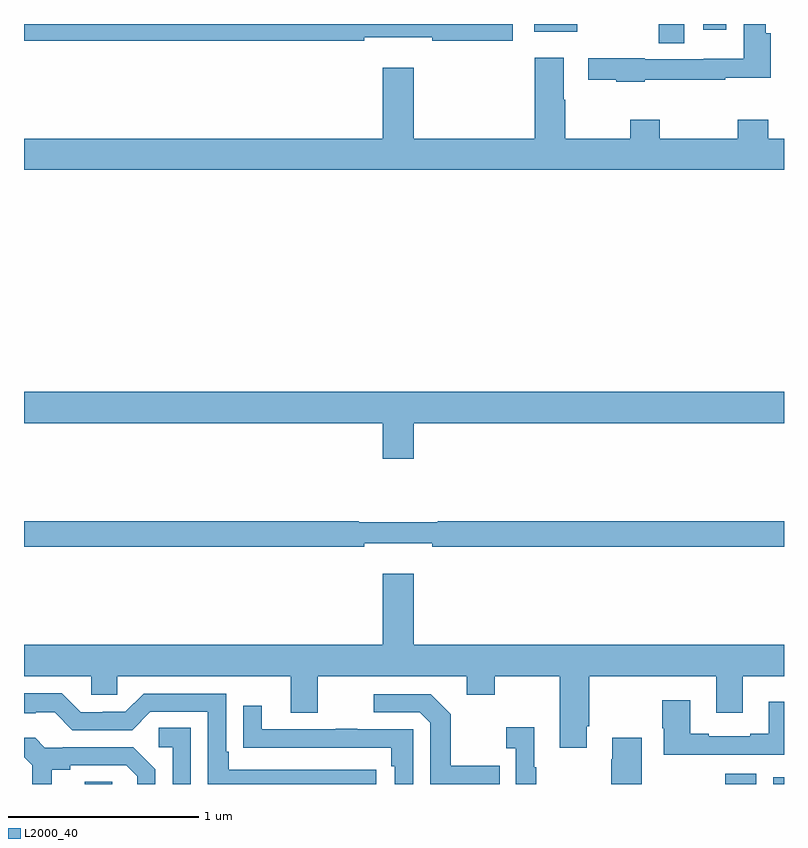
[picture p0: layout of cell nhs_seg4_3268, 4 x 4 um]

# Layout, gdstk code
import gdstk
lib = gdstk.Library(unit=1e-6, precision=1e-09)
def R(c, l, rs):  # rectangles x0, y0, x1, y1
    for r in rs: c.add(gdstk.rectangle(r[:2], r[2:], *l))
def P(c, l, *ps):  # polygons
    for p in ps: c.add(gdstk.Polygon(p, *l))
L2000_40 = (2000, 40)

nhs_seg4_3268 = lib.new_cell('nhs_seg4_3268')
R(nhs_seg4_3268, L2000_40, [(283.319,814.9,283.464,814.913), (286.691,814.9,286.855,814.954), (286.943,814.9,287,814.936), (286.34,818.8,286.474,818.9), (285.686,818.858,285.913,818.9), (286.574,818.871,286.696,818.9)])
P(nhs_seg4_3268, L2000_40, [(284.792,818.831),(285.148,818.831),(285.148,818.812),(285.573,818.812),(285.573,818.9),(283,818.9),(283,818.812),(284.792,818.812)],
  [(286.266,818.607),(286.691,818.607),(286.691,818.617),(286.931,818.617),(286.931,818.851),(286.904,818.851),(286.904,818.9),(286.788,818.9),(286.788,818.716),(286.578,818.716),(286.578,818.715),(286.266,818.715),(286.266,818.719),(285.969,818.719),(285.969,818.607),(286.116,818.607),(286.116,818.597),(286.266,818.597)],
  [(287,818.296),(286.916,818.296),(286.916,818.395),(286.756,818.395),(286.756,818.296),(286.347,818.296),(286.347,818.395),(286.192,818.395),(286.192,818.296),(285.849,818.296),(285.849,818.501),(285.841,818.501),(285.841,818.722),(285.689,818.722),(285.689,818.296),(285.052,818.296),(285.052,818.671),(284.888,818.671),(284.888,818.296),(283,818.296),(283,818.132),(287,818.132)],
  [(285.052,816.8),(287,816.8),(287,816.964),(283,816.964),(283,816.8),(284.888,816.8),(284.888,816.612),(285.052,816.612)],
  [(284.792,816.167),(285.148,816.167),(285.148,816.148),(287,816.148),(287,816.284),(285.178,816.284),(285.178,816.277),(284.762,816.277),(284.762,816.284),(283,816.284),(283,816.148),(284.792,816.148)],
  [(285.961,815.203),(285.974,815.203),(285.974,815.468),(286.643,815.468),(286.643,815.274),(286.783,815.274),(286.783,815.468),(287,815.468),(287,815.632),(285.052,815.632),(285.052,816.007),(284.888,816.007),(284.888,815.632),(283,815.632),(283,815.468),(283.353,815.468),(283.353,815.37),(283.491,815.37),(283.491,815.468),(284.405,815.468),(284.405,815.274),(284.545,815.274),(284.545,815.468),(285.329,815.468),(285.329,815.369),(285.477,815.369),(285.477,815.468),(285.821,815.468),(285.821,815.091),(285.961,815.091)],
  [(284.854,814.974),(284.077,814.974),(284.077,815.071),(284.064,815.071),(284.064,815.376),(283.629,815.376),(283.533,815.28),(283.415,815.28),(283.415,815.277),(283.299,815.277),(283.199,815.377),(283,815.377),(283,815.273),(283.061,815.273),(283.061,815.277),(283.161,815.277),(283.254,815.184),(283.569,815.184),(283.665,815.28),(283.968,815.28),(283.968,814.9),(284.854,814.9)],
  [(285.503,814.995),(285.247,814.995),(285.247,815.267),(285.141,815.373),(284.841,815.373),(284.841,815.277),(285.084,815.277),(285.138,815.223),(285.138,814.9),(285.503,814.9)],
  [(286.599,815.055),(287,815.055),(287,815.332),(286.919,815.332),(286.919,815.164),(286.823,815.164),(286.823,815.151),(286.603,815.151),(286.603,815.164),(286.507,815.164),(286.507,815.341),(286.36,815.341),(286.36,815.193),(286.367,815.193),(286.367,815.054),(286.599,815.054)],
  [(285.048,815.187),(284.753,815.187),(284.753,815.192),(284.641,815.192),(284.641,815.187),(284.251,815.187),(284.251,815.311),(284.155,815.311),(284.155,815.092),(284.257,815.092),(284.257,815.091),(284.932,815.091),(284.932,814.994),(284.952,814.994),(284.952,814.9),(285.048,814.9)],
  [(285.697,814.987),(285.685,814.987),(285.685,815.2),(285.537,815.2),(285.537,815.087),(285.588,815.087),(285.588,814.9),(285.697,814.9)],
  [(283.878,815.195),(283.71,815.195),(283.71,815.094),(283.782,815.094),(283.782,814.9),(283.878,814.9)],
  [(283.147,814.976),(283.243,814.976),(283.243,814.998),(283.538,814.998),(283.595,814.941),(283.595,814.9),(283.692,814.9),(283.692,814.978),(283.576,815.094),(283.204,815.094),(283.204,815.091),(283.11,815.091),(283.058,815.143),(283,815.143),(283,815.042),(283.043,814.999),(283.043,814.9),(283.147,814.9)],
  [(286.252,815.143),(286.097,815.143),(286.097,815.03),(286.09,815.03),(286.09,814.9),(286.252,814.9)])

lib.write_gds('nhs_seg4_3268.gds')
